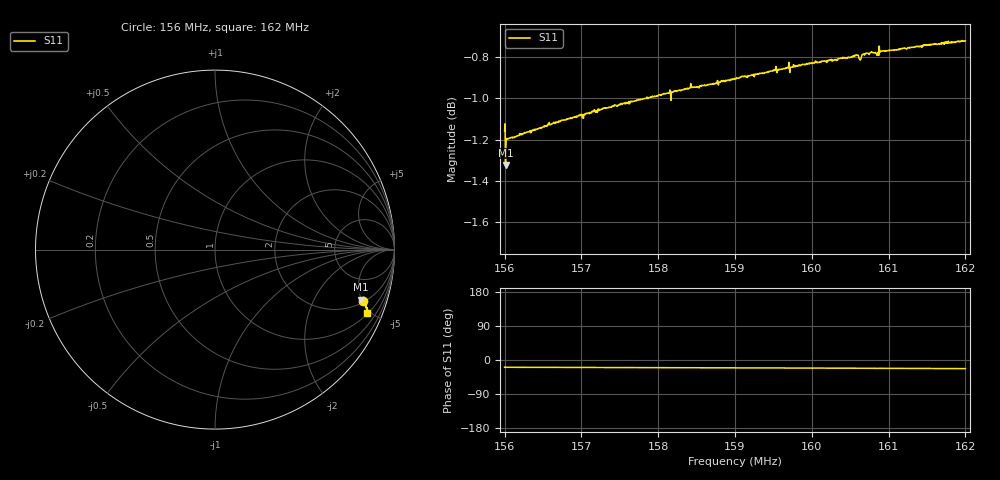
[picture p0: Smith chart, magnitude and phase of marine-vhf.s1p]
! Calibrated averaged scanner-service zoom
# Hz S RI R 50
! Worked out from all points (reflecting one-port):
!   1001 points, 156 MHz to 162 MHz, reference 50 ohm
!   lowest |S11| = -1.3 dB at 156.01 MHz (marker M1), VSWR 13.15, Z = 115 - j246 ohm
!   phase of S11 starts at -19 deg and turns -4 deg over the sweep
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1.56e8  0.8273 -0.2855
1.56012e8  0.8118 -0.2798
1.56036e8  0.8224 -0.2871
1.56042e8  0.8227 -0.2871
1.56054e8  0.8225 -0.2877
1.56492e8  0.8271 -0.291
1.5675e8  0.8297 -0.2945
1.56978e8  0.8313 -0.2968
1.57026e8  0.8302 -0.2958
1.5714e8  0.8327 -0.299
1.575e8  0.8351 -0.303
1.58082e8  0.8383 -0.3092
1.58142e8  0.8386 -0.3096
1.5825e8  0.8392 -0.3112
1.59e8  0.8426 -0.319
1.5975e8  0.846 -0.3275
1.605e8  0.8476 -0.3367
1.60578e8  0.8483 -0.338
1.60614e8  0.8473 -0.3364
1.60632e8  0.8466 -0.3352
1.60686e8  0.8479 -0.3389
1.60782e8  0.8489 -0.3406
1.60818e8  0.8483 -0.3408
1.60854e8  0.8463 -0.343
1.60908e8  0.8487 -0.3423
1.6125e8  0.8488 -0.3469
1.61478e8  0.8491 -0.3492
1.62e8  0.8489 -0.3557
